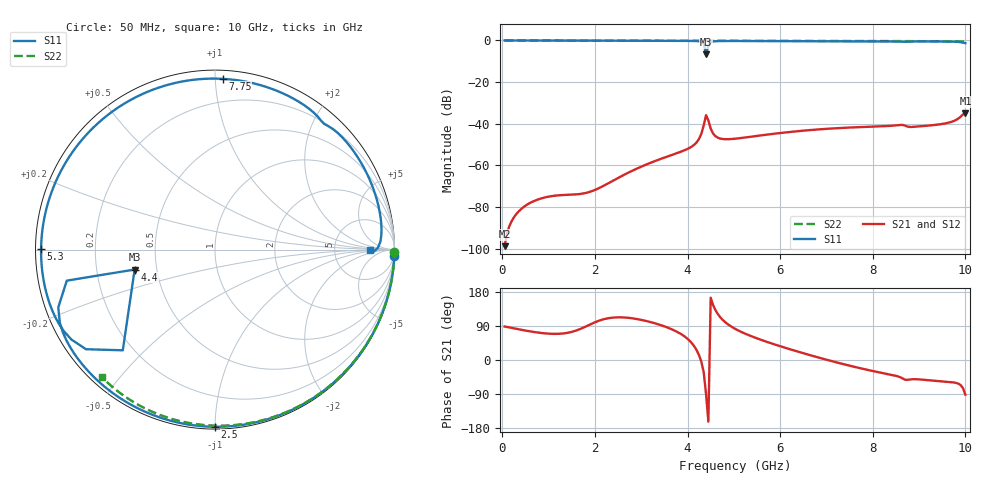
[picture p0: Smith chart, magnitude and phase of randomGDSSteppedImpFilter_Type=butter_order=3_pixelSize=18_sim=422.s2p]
! freq	dB(S11)	phase(S11)	dB(S12)	phase(S12)
!  dB(S21)	phase(S21)	dB(S22)	phase(S22)
!S-par simulation data
#  GHz  S  DB  R 50
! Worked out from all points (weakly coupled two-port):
!   200 points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, 50 MHz to 10 GHz, reference 50 ohm
!   highest |S21| = -35.07 dB at 10 GHz (marker M1); lowest = -98.8 dB at 50 MHz (marker M2)
!   lowest |S11| = -6.7 dB at 4.4 GHz (marker M3), VSWR 2.71, Z = 18.7 - j5.27 ohm
!   |S11| at or under -10 dB: nowhere
!   |S22| runs from -0.4 to 0.0 dB; largest |S21 - S12| = 0
!   S11 on the Smith chart (normalised r, x): 50 MHz: 1, -60; 2.5 GHz: 0.01, -1.00; 4.4 GHz: 0.37, -0.11; 5.3 GHz: 0.02, +0.00; 7.75 GHz: 0.05, +1.04; 10 GHz: 13, -0
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0.05  -0.00 -1.9  -98.83 88.3  -98.83 88.3  -0.00 -0.8
0.45  -0.02 -16.9  -80.20 78.8  -80.20 78.8  -0.01 -6.8
0.85  -0.04 -31.7  -75.82 71.2  -75.82 71.2  -0.02 -12.9
1.75  -0.08 -64.1  -73.51 85.4  -73.51 85.4  -0.03 -26.3
2.5  -0.11 -90.1  -66.06 112.6  -66.06 112.6  -0.05 -37.2
3.4  -0.15 -120.6  -57.08 93.0  -57.08 93.0  -0.07 -50.0
4.15  -0.27 -148.7  -50.00 35.2  -50.00 35.2  -0.08 -60.3
4.25  -0.40 -154.9  -47.23 12.2  -47.23 12.2  -0.09 -61.7
4.35  -1.48 -168.2  -40.73 -32.7  -40.73 -32.7  -0.09 -63.1
4.4  -6.72 -166.1  -35.88 -90.9  -35.88 -90.9  -0.10 -63.7
4.45  -2.38 -132.5  -38.43 -162.6  -38.43 -162.6  -0.10 -64.4
4.5  -0.84 -142.3  -42.35 164.5  -42.35 164.5  -0.10 -65.0
4.65  -0.33 -154.7  -46.67 122.1  -46.67 122.1  -0.10 -67.1
5.05  -0.26 -171.2  -47.15 80.8  -47.15 80.8  -0.11 -72.3
5.3  -0.27 179.8  -46.46 66.6  -46.46 66.6  -0.12 -75.6
6  -0.32 154.8  -44.48 36.4  -44.48 36.4  -0.15 -84.5
6.7  -0.36 128.9  -42.95 10.9  -42.95 10.9  -0.18 -93.2
7.75  -0.42 87.4  -41.60 -22.3  -41.60 -22.3  -0.24 -105.8
8.35  -0.46 62.7  -41.06 -37.8  -41.06 -37.8  -0.29 -112.8
9.3  -0.48 24.9  -40.69 -54.3  -40.69 -54.3  -0.37 -123.6
9.7  -0.56 8.9  -39.10 -58.5  -39.10 -58.5  -0.41 -128.1
10  -1.29 -0.2  -35.07 -91.4  -35.07 -91.4  -0.44 -131.5
